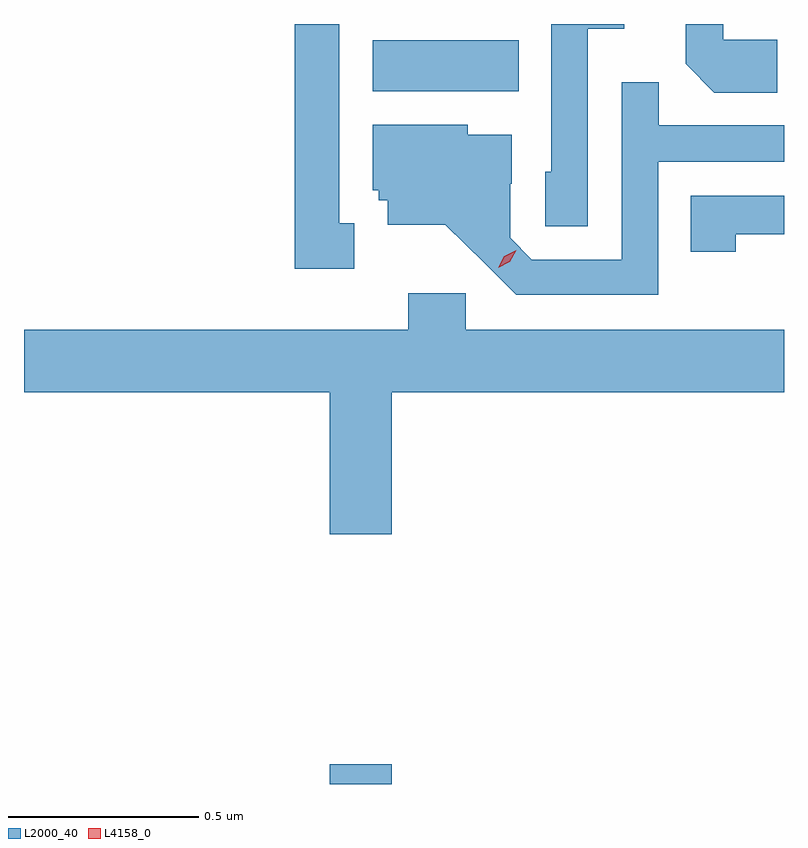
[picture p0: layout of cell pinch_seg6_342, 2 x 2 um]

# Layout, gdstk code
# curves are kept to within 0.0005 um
import gdstk
lib = gdstk.Library(unit=1e-6, precision=1e-09)
def R(c, l, rs):  # rectangles x0, y0, x1, y1
    for r in rs: c.add(gdstk.rectangle(r[:2], r[2:], *l))
def P(c, l, *ps):  # polygons
    for p in ps: c.add(gdstk.Polygon(p, *l))
L2000_40 = (2000, 40)
L4158_0 = (4158, 0)

pinch_seg6_342 = lib.new_cell('pinch_seg6_342')
R(pinch_seg6_342, L2000_40, [(728.444,936.981,728.608,937.033), (728.558,938.804,728.942,938.938)])
P(pinch_seg6_342, L2000_40, [(728.509,938.457),(728.47,938.457),(728.47,938.981),(728.352,938.981),(728.352,938.337),(728.509,938.337)],
  [(729.622,938.94),(729.48,938.94),(729.48,938.981),(729.381,938.981),(729.381,938.876),(729.457,938.8),(729.622,938.8)],
  [(729.123,938.969),(729.22,938.969),(729.22,938.981),(729.027,938.981),(729.027,938.592),(729.012,938.592),(729.012,938.449),(729.123,938.449)],
  [(729.309,938.619),(729.64,938.619),(729.64,938.715),(729.311,938.715),(729.311,938.828),(729.213,938.828),(729.213,938.361),(728.976,938.361),(728.919,938.418),(728.919,938.56),(728.923,938.56),(728.923,938.689),(728.808,938.689),(728.808,938.716),(728.558,938.716),(728.558,938.544),(728.574,938.544),(728.574,938.517),(728.597,938.517),(728.597,938.453),(728.749,938.453),(728.936,938.268),(729.309,938.268)],
  [(729.513,938.428),(729.64,938.428),(729.64,938.529),(729.394,938.529),(729.394,938.382),(729.513,938.382)],
  [(728.608,938.012),(729.64,938.012),(729.64,938.176),(728.802,938.176),(728.802,938.272),(728.651,938.272),(728.651,938.176),(727.64,938.176),(727.64,938.012),(728.444,938.012),(728.444,937.638),(728.608,937.638)])
P(pinch_seg6_342, L4158_0, [(728.888,938.34),(728.888,938.34),(728.904,938.37),(728.935,938.385),(728.935,938.385),(728.935,938.385),(728.918,938.355),(728.888,938.34)])

lib.write_gds('pinch_seg6_342.gds')
